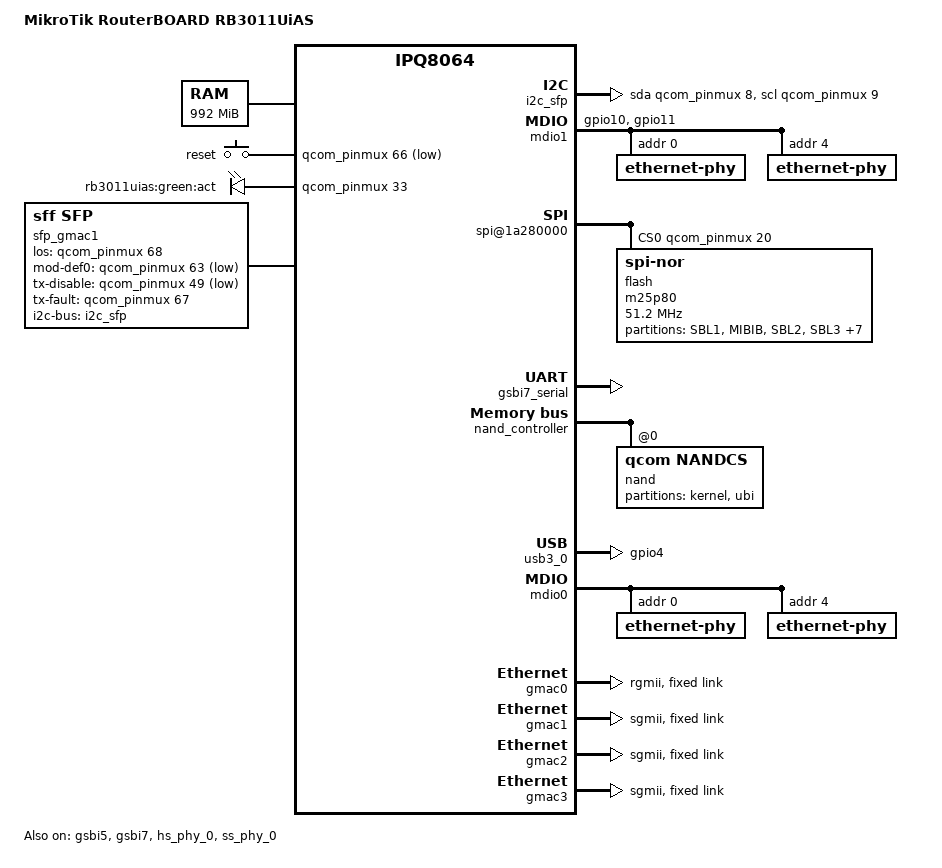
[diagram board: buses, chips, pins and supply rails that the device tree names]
#include "qcom-ipq8064-v2.0.dtsi"

#include <dt-bindings/input/input.h>

/ {
	model = "MikroTik RouterBOARD RB3011UiAS";
	compatible = "mikrotik,rb3011uias", "qcom,ipq8064";

	memory@0 {
		reg = <0x42000000 0x3e000000>;
		device_type = "memory";
	};

	reserved-memory {
		rsvd@7f000000 { /* 16 Mb for ramoops */
			reg = <0x7f000000 0x1000000>;
			reusable;
		};
	};

	aliases {
		led-boot = &act;
		led-failsafe = &act;
		led-running = &act;
		led-upgrade = &act;
		mdio-gpio0 = &mdio0;
		mdio-gpio1 = &mdio1;
		serial0 = &gsbi7_serial;
	};

	chosen {
		bootargs = "rootfstype=squashfs noinitrd";
	};

	i2c_sfp: i2c {
		compatible = "i2c-gpio";
		sda-gpios = <&qcom_pinmux 8 (GPIO_ACTIVE_HIGH|GPIO_OPEN_DRAIN)>;
		scl-gpios = <&qcom_pinmux 9 (GPIO_ACTIVE_HIGH|GPIO_OPEN_DRAIN)>;
		i2c-gpio,delay-us = <5>;
		i2c-gpio,timeout-ms = <1>;
	};

	keys {
		compatible = "gpio-keys";

		reset {
			gpios = <&qcom_pinmux 66 GPIO_ACTIVE_LOW>;
			label = "reset";
			linux,code = <KEY_RESTART>;
			pinctrl-0 = <&reset_button_pins>;
			pinctrl-names = "default";
		};
	};

	leds {
		compatible = "gpio-leds";
		pinctrl-0 = <&led_pins>;
		pinctrl-names = "default";

		act: act {
			label = "rb3011uias:green:act";
			gpios = <&qcom_pinmux 33 GPIO_ACTIVE_HIGH>;
		};
	};

	sfp_gmac1: sfp {
		compatible = "sff,sfp";
		i2c-bus = <&i2c_sfp>;
		los-gpios = <&qcom_pinmux 68 GPIO_ACTIVE_HIGH>;
		maximum-power-milliwatt = <2000>;
		mod-def0-gpios = <&qcom_pinmux 63 GPIO_ACTIVE_LOW>;
		pinctrl-0 = <&sfp_pins>;
		pinctrl-names = "default";
//		rate-select0-gpios = <&qcom_pinmux 50 GPIO_ACTIVE_HIGH>;
//		rate-select0-gpios = <&qcom_pinmux 50 GPIO_ACTIVE_LOW>;
//		tx-disable-gpios = <&qcom_pinmux 49 GPIO_ACTIVE_HIGH>;
		tx-disable-gpios = <&qcom_pinmux 49 GPIO_ACTIVE_LOW>;
		tx-fault-gpios = <&qcom_pinmux 67 GPIO_ACTIVE_HIGH>;
	};
};

&adm_dma {
	status = "okay";
};

&soc {
	mdio1: mdio@37200000 {
		#address-cells = <1>;
		#size-cells = <0>;

		compatible = "qcom,ipq8064-mdio", "syscon";
		reg = <0x37200000 0x200000>;
		resets = <&gcc GMAC_CORE2_RESET>;
		reset-names = "stmmaceth";
		clocks = <&gcc GMAC_CORE2_CLK>;
		clock-names = "stmmaceth";

		status = "disabled";
	};
};

&qcom_pinmux {
	pinctrl-0 = <&switch0_reset_pin &switch1_reset_pin &lcd_pwr_pin &port10_poe_pin>;
	pinctrl-names = "default";

	led_pins: led-pins {
		mux {
			pins = "gpio33";
			function = "gpio";
			drive-strength = <2>;
			bias-pull-down;
		};
	};

	mdio1_pins: mdio1-pins {
		mux {
			pins = "gpio10", "gpio11";
			function = "mdio";
			drive-strength = <8>;
			bias-disable;
		};
	};

	reset_button_pins: reset-button-pins {
		mux {
			pins = "gpio66";
			function = "gpio";
			drive-strength = <2>;
			bias-pull-up;
		};
	};

	sfp_pins: sfp-pins {
		mux {
			pins = "gpio49", "gpio50", "gpio63", "gpio67", "gpio68";
			function = "gpio";
			drive-strength = <16>;
			bias-disable;
		};
	};

	switch0_reset_pin: switch0-reset-pin {
		mux {
			pins = "gpio16";
			function = "gpio";
			drive-strength = <16>;
			bias-pull-down;
			output-high;
		};
	};

	switch1_reset_pin: switch1-reset-pin {
		mux {
			pins = "gpio17";
			function = "gpio";
			drive-strength = <16>;
			bias-pull-down;
			output-high;
		};
	};

	usb0_pwr_en_pins: usb0-pwr-en-pins {
		mux {
			pins = "gpio4";
			function = "gpio";
			drive-strength = <16>;
			bias-pull-down;
			output-high;
		};
	};

	lcd_pwr_pin: lcd-pwr-pin {
		mux {
			pins = "gpio48";
			function = "gpio";
			drive-strength = <16>;
			bias-pull-down;
			output-low;
		};
	};

	port10_poe_pin: port10-poe-pin {
		mux {
			pins = "gpio26";
			function = "gpio";
			drive-strength = <16>;
			bias-pull-down;
			output-high;
		};
	};

};

&gsbi5 {
	qcom,mode = <GSBI_PROT_SPI>;
	status = "okay";

	spi@1a280000 {
		status = "okay";

		pinctrl-0 = <&spi_pins>;
		pinctrl-names = "default";

		cs-gpios = <&qcom_pinmux 20 GPIO_ACTIVE_HIGH>;

		flash: m25p80@0 {
			compatible = "jedec,spi-nor";
			#address-cells = <1>;
			#size-cells = <1>;
			spi-max-frequency = <51200000>;
			reg = <0>;

			partitions {
				compatible = "fixed-partitions";
				#address-cells = <1>;
				#size-cells = <1>;

				SBL1@0 {
					label = "SBL1";
					reg = <0x00000000 0x20000>;
					read-only;
				};
				MIBIB@20000 {
					label = "MIBIB";
					reg = <0x00020000 0x20000>;
					read-only;
				};
				SBL2@40000 {
					label = "SBL2";
					reg = <0x00040000 0x40000>;
					read-only;
				};
				SBL3@80000 {
					label = "SBL3";
					reg = <0x00080000 0x80000>;
					read-only;
				};
				DDRCONFIG@100000 {
					label = "DDRCONFIG";
					reg = <0x00100000 0x10000>;
					read-only;
				};
				SSD@110000 {
					label = "SSD";
					reg = <0x00110000 0x10000>;
					read-only;
				};
				TZ@120000 {
					label = "TZ";
					reg = <0x00120000 0x80000>;
					read-only;
				};
				RPM@1a0000 {
					label = "RPM";
					reg = <0x001a0000 0x20000>;
					read-only;
				};
				APPSBL@1c0000 {
					label = "APPSBL";
					reg = <0x001c0000 0x40000>;
					read-only;
				};
				hard_config: RBHARDCONFIG@1cf000 {
					label = "hard_config";
					reg = <0x001cf000 0x01000>;
					read-only;
				};
				RBSOFTCONFIG@1e0000 {
					label = "soft_config";
					reg = <0x001e0000 0x01000>;
				};
			};
		};
	};
};

&gsbi4 {
	status = "disabled";
};

&gsbi7 {
	qcom,mode = <GSBI_PROT_I2C_UART>;
	status = "okay";
};

&gsbi7_serial {
	status = "okay";
};

&nand_controller {
	status = "okay";

	pinctrl-0 = <&nand_pins>;
	pinctrl-names = "default";

	nand@0 {
		reg = <0>;
		compatible = "qcom,nandcs";

		nand-ecc-strength = <4>;
		nand-bus-width = <8>;
		nand-ecc-step-size = <512>;

		partitions {
			compatible = "fixed-partitions";
			#address-cells = <1>;
			#size-cells = <1>;

			partition@0 {
				label = "kernel";
				reg = <0x00000000 0x1000000>;
			};

			partition@1000000 {
				label = "ubi";
				reg = <0x1000000 0x7000000>;
			};
		};
	};
};

&hs_phy_0 { /* USB3 port 0 HS phy */
	clocks = <&gcc USB30_1_UTMI_CLK>;
	status = "okay";
};

&ss_phy_0 { /* USB3 port 0 SS phy */
	clocks = <&gcc USB30_1_MASTER_CLK>;
	status = "okay";
};

&usb3_0 {
	clocks = <&gcc USB30_1_MASTER_CLK>;
	pinctrl-0 = <&usb0_pwr_en_pins>;
	pinctrl-names = "default";
	status = "okay";
};

&mdio0 {
	status = "okay";

	pinctrl-0 = <&mdio0_pins>;
	pinctrl-names = "default";

	ethernet-phy@0 {
		reg = <0>;
		qca,ar8327-initvals = <
			0x00004 0x07680000  /* PAD0_MODE */
			0x00008 0x01000000  /* PAD5_MODE */
			0x0000c 0x00000080  /* PAD6_MODE */
			0x00010 0x002613A0  /* POWER_ON_STRIP. Disable SERNES_AEN */
			0x000e0 0xc741e7de  /* SGMII_CTRL */
			0x000e4 0x0002a545  /* MAC_POWER_SEL */
			0x0007c 0x4e        /* PORT0_STATUS */
			0x00094 0x4e        /* PORT6_STATUS */
		>;
		qca,ar8327-vlans = <
			0x1	0x7f	    /* VLAN1 Ports 0/1/2/3/4/5/6 */
		>;
	};

	ethernet-phy@4 {
		reg = <4>;
	};
};

&mdio1 {
	status = "okay";

	pinctrl-0 = <&mdio1_pins>;
	pinctrl-names = "default";

	ethernet-phy@0 {
		reg = <0>;
		qca,ar8327-initvals = <
			0x00004 0x00080080  /* PAD0_MODE */
			0x00008 0000000000  /* PAD5_MODE */
			0x0000c 0x00000000  /* PAD6_MODE */
			0x00010 0x002613A0  /* POWER_ON_STRIP. Disable SERNES_AEN */
			0x000e0 0xc741e7de  /* SGMII_CTRL */
			0x000e4 0x0006a545  /* MAC_POWER_SEL */
			0x0007c 0x4e        /* PORT0_STATUS */
			0x00094 0x4e        /* PORT6_STATUS */
		>;
		qca,ar8327-vlans = <
			0x1	0x7f	    /* VLAN1 Ports 0/1/2/3/4/5/6 */
		>;
	};

	ethernet-phy@4 {
		reg = <4>;
	};
};

&gmac0 { /* switch0 port 0 */
	mdiobus = <&mdio0>;
	mtd-mac-address = <&hard_config 0x10>;
	mtd-mac-address-increment = <0>;
	phy-mode = "rgmii";
	pinctrl-0 = <&rgmii2_pins>;
	pinctrl-names = "default";
	qcom,id = <0>;
	status = "okay";

	fixed-link {
		speed = <1000>;
		full-duplex;
	};
};

&gmac1 { /* SFP */
	mtd-mac-address = <&hard_config 0x10>;
	mtd-mac-address-increment = <1>;
	phy-mode = "sgmii";
	qcom,id = <1>;
	//sfp = <&sfp_gmac1>;
	status = "okay";

	fixed-link {
		speed = <1000>;
		full-duplex;
	};
};

&gmac2 { /* switch0 port 6 */
	mdiobus = <&mdio0>;
	mtd-mac-address = <&hard_config 0x10>;
	mtd-mac-address-increment = <2>;
	phy-mode = "sgmii";
	qcom,id = <2>;
	status = "okay";

	fixed-link {
		speed = <1000>;
		full-duplex;
	};
};

&gmac3 { /* switch1 port 0 */
	mdiobus = <&mdio1>;
	mtd-mac-address = <&hard_config 0x10>;
	mtd-mac-address-increment = <3>;
	phy-mode = "sgmii";
	qcom,id = <3>;
	status = "okay";

	fixed-link {
		speed = <1000>;
		full-duplex;
	};
};
